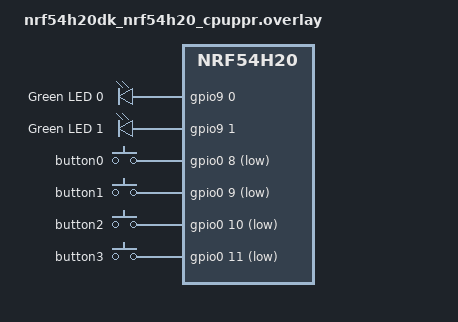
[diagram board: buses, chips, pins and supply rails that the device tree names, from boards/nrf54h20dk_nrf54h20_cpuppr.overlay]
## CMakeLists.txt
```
#
# Copyright (c) 2024 Nordic Semiconductor ASA
#
# SPDX-License-Identifier: LicenseRef-Nordic-5-Clause
#

cmake_minimum_required(VERSION 3.20.0)

find_package(Zephyr REQUIRED HINTS $ENV{ZEPHYR_BASE})
project(gpio_expander)

target_sources(app PRIVATE src/main.c)

# Add include directory for def headers
zephyr_include_directories(
  configuration/
  configuration/${NORMALIZED_BOARD_TARGET}
)
```

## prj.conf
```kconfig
#
# Copyright (c) 2024 Nordic Semiconductor ASA
#
# SPDX-License-Identifier: LicenseRef-Nordic-5-Clause
#
################################################################################
# Application configuration

# Enable CAF LEDs and buttons.
CONFIG_CAF_LEDS=y
CONFIG_CAF_BUTTONS=y

################################################################################
# Zephyr Configuration

CONFIG_HEAP_MEM_POOL_SIZE=2048

CONFIG_APP_EVENT_MANAGER=y
CONFIG_CAF=y

CONFIG_EVENT_MANAGER_PROXY=y
CONFIG_EVENT_MANAGER_PROXY_BIND_TIMEOUT_MS=5000
CONFIG_IPC_SERVICE=y
CONFIG_MBOX=y

CONFIG_GPIO=y
CONFIG_LED=y

################################################################################
# Debug configuration

CONFIG_ASSERT=y
# Reduce assert verbosity to reduce memory consumption.
CONFIG_ASSERT_VERBOSE=n
CONFIG_RESET_ON_FATAL_ERROR=n

CONFIG_LOG=y
CONFIG_LOG_MODE_MINIMAL=y
```

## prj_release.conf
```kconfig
#
# Copyright (c) 2024 Nordic Semiconductor ASA
#
# SPDX-License-Identifier: LicenseRef-Nordic-5-Clause
#
################################################################################
# Application configuration

# Enable CAF LEDs and buttons.
CONFIG_CAF_LEDS=y
CONFIG_CAF_BUTTONS=y

################################################################################
# Zephyr Configuration

CONFIG_HEAP_MEM_POOL_SIZE=2048

CONFIG_APP_EVENT_MANAGER=y
CONFIG_CAF=y

CONFIG_EVENT_MANAGER_PROXY=y
CONFIG_EVENT_MANAGER_PROXY_BIND_TIMEOUT_MS=5000
CONFIG_IPC_SERVICE=y
CONFIG_MBOX=y

CONFIG_GPIO=y
CONFIG_LED=y

# Disable unused functionalities
CONFIG_NCS_BOOT_BANNER=n
CONFIG_BOOT_BANNER=n
CONFIG_PRINTK=n
CONFIG_SERIAL=n
CONFIG_CONSOLE=n
CONFIG_UART_CONSOLE=n
```

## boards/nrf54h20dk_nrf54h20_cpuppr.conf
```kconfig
#
# Copyright (c) 2024 Nordic Semiconductor ASA
#
# SPDX-License-Identifier: LicenseRef-Nordic-5-Clause
#

CONFIG_CAF_BUTTONS_POLARITY_INVERSED=y
CONFIG_LED_GPIO=y
```

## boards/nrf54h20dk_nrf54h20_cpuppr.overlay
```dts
/*
 * Copyright (c) 2024 Nordic Semiconductor ASA
 *
 * SPDX-License-Identifier: LicenseRef-Nordic-5-Clause
 */

/* Enable IPC. */
&cpuppr_vevif {
	status = "okay";
};

&cpuapp_bellboard {
	status = "okay";
};

ipc1: &cpuapp_cpuppr_ipc {
	status = "okay";
};


/* Enable GPIO support. */
&gpiote130 {
	status = "okay";
};

&gpio0 {
	status = "okay";
};

&gpio9 {
	status = "okay";
};

/ {
	/* Redefine leds to fit CAF requirements. */
	/delete-node/ leds;

	leds0 {
		compatible = "gpio-leds";
		status = "okay";
		label = "System State LED";

		led0: led_0 {
			gpios = < &gpio9 0 GPIO_ACTIVE_HIGH >;
			label = "Green LED 0";
		};
	};

	leds1 {
		compatible = "gpio-leds";
		status = "okay";
		label = "Peer State LED";

		led1: led_1 {
			gpios = < &gpio9 1 GPIO_ACTIVE_HIGH >;
			label = "Green LED 1";
		};
	};

	leds2 {
		compatible = "gpio-leds";
		status = "disabled";
		label = "Unused LED 2";

		led2: led_2 {
			gpios = < &gpio9 2 GPIO_ACTIVE_HIGH >;
			label = "Green LED 2";
		};
	};

	leds3 {
		compatible = "gpio-leds";
		status = "disabled";
		label = "Unused LED 3";

		led3: led_3 {
			gpios = < &gpio9 3 GPIO_ACTIVE_HIGH >;
			label = "Green LED 3";
		};
	};

	/* Define buttons to use them in "buttons_def.h" header file. */
	buttons {
		compatible = "gpio-keys";
		button0: button_0 {
			gpios = <&gpio0 8 (GPIO_PULL_UP | GPIO_ACTIVE_LOW)>;
		};

		button1: button_1 {
			gpios = <&gpio0 9 (GPIO_PULL_UP | GPIO_ACTIVE_LOW)>;
		};

		button2: button_2 {
			gpios = <&gpio0 10 (GPIO_PULL_UP | GPIO_ACTIVE_LOW)>;
		};

		button3: button_3 {
			gpios = <&gpio0 11 (GPIO_PULL_UP | GPIO_ACTIVE_LOW)>;
		};
	};
};
```

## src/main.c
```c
/*
 * Copyright (c) 2024 Nordic Semiconductor ASA
 *
 * SPDX-License-Identifier: LicenseRef-Nordic-5-Clause
 */

#include <zephyr/kernel.h>

#include <app_event_manager.h>
#include <event_manager_proxy.h>

#define MODULE main
#include <caf/events/module_state_event.h>
#include <caf/events/led_event.h>

#include <zephyr/logging/log.h>
LOG_MODULE_REGISTER(MODULE);

int main(void)
{
	const struct device *ipc_instance = DEVICE_DT_GET(DT_NODELABEL(ipc1));
	int err = app_event_manager_init();

	if (err) {
		LOG_ERR("Event Manager not initialized, err: %d", err);
		return err;
	}
        LOG_INF("Event manager initialized");

	err = event_manager_proxy_add_remote(ipc_instance);
        if (err && (err != -EALREADY)) {
		LOG_ERR("Cannot add remote: %d", err);
		return err;
	}
	LOG_INF("Event proxy remote added");

	err = EVENT_MANAGER_PROXY_SUBSCRIBE(ipc_instance, led_event);
	if (err) {
		LOG_ERR("Cannot subscribe for led_event");
		return err;
	}

	err = event_manager_proxy_start();
        if (err) {
		LOG_ERR("Cannot start event manager proxy: %d", err);
		return err;
	}

	/* Wait for all the remote cores to finish event proxy initialization */
	err = event_manager_proxy_wait_for_remotes(K_MSEC(5000));
	if (err) {
		LOG_ERR("Error when waiting for remote: %d", err);
		return err;
	}

	LOG_INF("Event Manager proxy initialization finished successfully");
	module_set_state(MODULE_STATE_READY);

	return 0;
}
```
